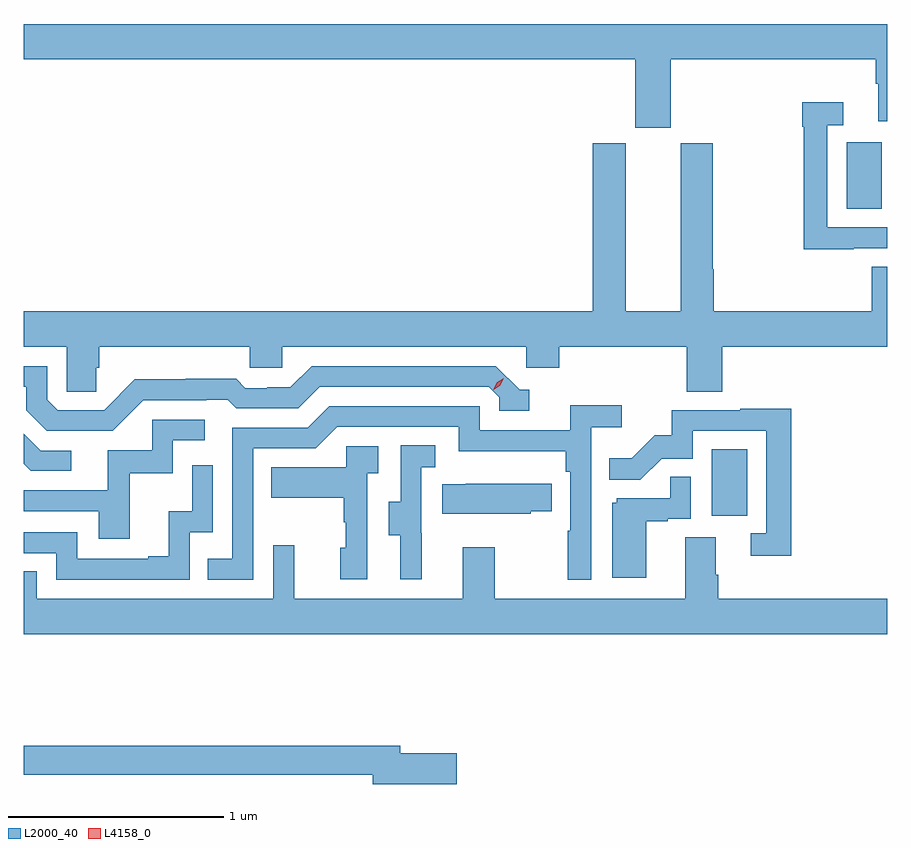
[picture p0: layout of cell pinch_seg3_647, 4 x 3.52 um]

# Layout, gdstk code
import gdstk
lib = gdstk.Library(unit=1e-6, precision=1e-09)
def R(c, l, rs):  # rectangles x0, y0, x1, y1
    for r in rs: c.add(gdstk.rectangle(r[:2], r[2:], *l))
def P(c, l, *ps):  # polygons
    for p in ps: c.add(gdstk.Polygon(p, *l))
L2000_40 = (2000, 40)
L4158_0 = (4158, 0)

pinch_seg3_647 = lib.new_cell('pinch_seg3_647')
R(pinch_seg3_647, L2000_40, [(1036.49,678.822,1036.654,679.129), (1037.114,680.244,1037.278,680.551)])
P(pinch_seg3_647, L2000_40, [(1036.3,680.936),(1037.249,680.936),(1037.249,680.824),(1037.261,680.824),(1037.261,680.65),(1037.302,680.65),(1037.302,681.1),(1033.302,681.1),(1033.302,680.936),(1036.136,680.936),(1036.136,680.619),(1036.3,680.619)],
  [(1037.147,680.061),(1037.302,680.061),(1037.302,680.157),(1037.025,680.157),(1037.025,680.631),(1037.098,680.631),(1037.098,680.737),(1036.909,680.737),(1036.909,680.624),(1036.917,680.624),(1036.917,680.056),(1037.147,680.056)],
  [(1033.302,679.604),(1033.5,679.604),(1033.5,679.396),(1033.637,679.396),(1033.637,679.506),(1033.652,679.506),(1033.652,679.604),(1034.349,679.604),(1034.349,679.506),(1034.499,679.506),(1034.499,679.604),(1035.63,679.604),(1035.63,679.506),(1035.782,679.506),(1035.782,679.604),(1036.373,679.604),(1036.373,679.396),(1036.538,679.396),(1036.538,679.604),(1037.302,679.604),(1037.302,679.976),(1037.231,679.976),(1037.231,679.768),(1036.499,679.768),(1036.499,679.964),(1036.494,679.964),(1036.494,680.547),(1036.346,680.547),(1036.346,679.768),(1036.09,679.768),(1036.09,680.547),(1035.938,680.547),(1035.938,679.768),(1033.302,679.768)],
  [(1033.854,679.356),(1034.147,679.356),(1034.147,679.359),(1034.246,679.359),(1034.285,679.32),(1034.574,679.32),(1034.673,679.419),(1035.456,679.419),(1035.504,679.371),(1035.504,679.308),(1035.643,679.308),(1035.643,679.404),(1035.6,679.404),(1035.489,679.515),(1034.636,679.515),(1034.537,679.416),(1034.43,679.416),(1034.43,679.413),(1034.327,679.413),(1034.285,679.456),(1034.052,679.456),(1034.052,679.453),(1033.816,679.453),(1033.674,679.311),(1033.458,679.311),(1033.41,679.359),(1033.41,679.515),(1033.302,679.515),(1033.302,679.419),(1033.313,679.419),(1033.313,679.309),(1033.407,679.215),(1033.713,679.215)],
  [(1034.364,679.134),(1034.655,679.134),(1034.754,679.233),(1035.318,679.233),(1035.318,679.121),(1035.814,679.121),(1035.814,679.025),(1035.834,679.025),(1035.834,678.752),(1035.822,678.752),(1035.822,678.525),(1035.93,678.525),(1035.93,679.232),(1036.072,679.232),(1036.072,679.334),(1035.833,679.334),(1035.833,679.218),(1035.414,679.218),(1035.414,679.329),(1034.717,679.329),(1034.618,679.23),(1034.268,679.23),(1034.268,678.621),(1034.155,678.621),(1034.155,678.525),(1034.364,678.525)],
  [(1036.859,679.316),(1036.621,679.316),(1036.621,679.311),(1036.303,679.311),(1036.303,679.194),(1036.226,679.194),(1036.119,679.087),(1036.015,679.087),(1036.015,678.988),(1036.159,678.988),(1036.257,679.086),(1036.401,679.086),(1036.401,679.215),(1036.743,679.215),(1036.743,678.741),(1036.671,678.741),(1036.671,678.636),(1036.859,678.636)],
  [(1033.793,679.017),(1033.992,679.017),(1033.992,679.17),(1034.14,679.17),(1034.14,679.266),(1033.896,679.266),(1033.896,679.125),(1033.691,679.125),(1033.691,678.939),(1033.302,678.939),(1033.302,678.843),(1033.649,678.843),(1033.649,678.714),(1033.793,678.714)],
  [(1033.522,679.122),(1033.38,679.122),(1033.302,679.2),(1033.302,679.061),(1033.334,679.029),(1033.522,679.029)],
  [(1035.146,678.741),(1035.144,678.741),(1035.144,679.045),(1035.208,679.045),(1035.208,679.148),(1035.048,679.148),(1035.048,678.885),(1034.993,678.885),(1034.993,678.73),(1035.047,678.73),(1035.047,678.528),(1035.146,678.528)],
  [(1034.892,679.019),(1034.944,679.019),(1034.944,679.143),(1034.796,679.143),(1034.796,679.045),(1034.449,679.045),(1034.449,678.905),(1034.784,678.905),(1034.784,678.791),(1034.794,678.791),(1034.794,678.672),(1034.768,678.672),(1034.768,678.528),(1034.892,678.528)],
  [(1034.07,678.744),(1034.178,678.744),(1034.178,679.054),(1034.082,679.054),(1034.082,678.842),(1033.973,678.842),(1033.973,678.634),(1033.877,678.634),(1033.877,678.621),(1033.548,678.621),(1033.548,678.744),(1033.302,678.744),(1033.302,678.648),(1033.452,678.648),(1033.452,678.525),(1034.07,678.525)],
  [(1036.186,678.795),(1036.286,678.795),(1036.286,678.807),(1036.392,678.807),(1036.392,679.001),(1036.297,679.001),(1036.297,678.903),(1036.05,678.903),(1036.05,678.882),(1036.028,678.882),(1036.028,678.534),(1036.186,678.534)],
  [(1035.651,678.841),(1035.749,678.841),(1035.749,678.97),(1035.349,678.97),(1035.349,678.967),(1035.241,678.967),(1035.241,678.83),(1035.651,678.83)],
  [(1037.302,678.436),(1036.52,678.436),(1036.52,678.548),(1036.507,678.548),(1036.507,678.722),(1036.367,678.722),(1036.367,678.436),(1035.483,678.436),(1035.483,678.676),(1035.335,678.676),(1035.335,678.436),(1034.555,678.436),(1034.555,678.685),(1034.457,678.685),(1034.457,678.436),(1033.362,678.436),(1033.362,678.563),(1033.302,678.563),(1033.302,678.272),(1037.302,678.272)],
  [(1035.307,677.72),(1035.046,677.72),(1035.046,677.756),(1033.302,677.756),(1033.302,677.62),(1034.918,677.62),(1034.918,677.578),(1035.307,677.578)])
P(pinch_seg3_647, L4158_0, [(1035.478,679.406),(1035.478,679.406),(1035.495,679.439),(1035.525,679.459),(1035.526,679.459),(1035.526,679.458),(1035.51,679.426),(1035.479,679.406)])

lib.write_gds('pinch_seg3_647.gds')
